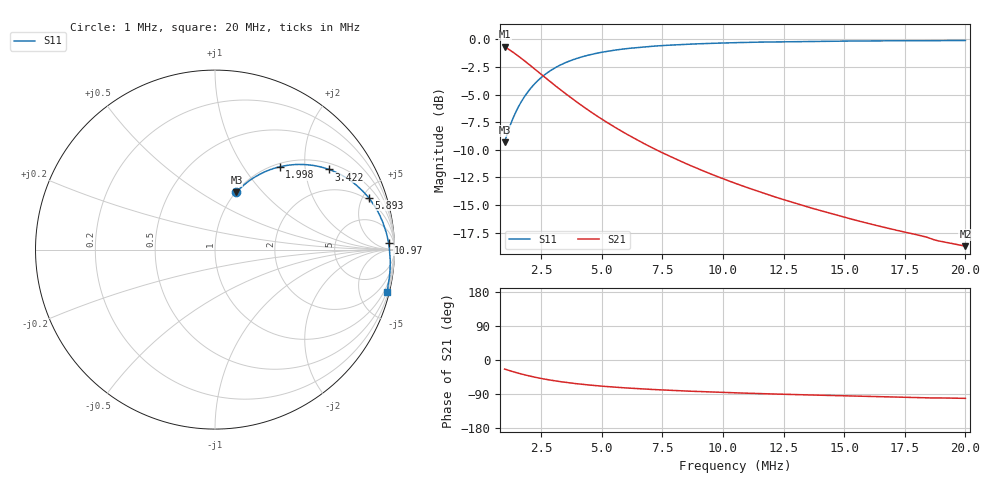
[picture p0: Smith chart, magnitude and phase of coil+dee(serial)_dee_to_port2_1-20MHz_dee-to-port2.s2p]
# HZ S RI R 50
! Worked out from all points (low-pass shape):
!   401 points, 1 MHz to 20 MHz, reference 50 ohm
!   highest |S21| = -0.68 dB at 1 MHz (marker M1); lowest = -18.7 dB at 20 MHz (marker M2)
!   |S21| within 3 dB of the highest: start of sweep to 2.794 MHz
!   lowest |S11| = -9.3 dB at 1 MHz (marker M3), VSWR 2.04, Z = 50.3 + j36.5 ohm
!   |S11| at or under -10 dB: nowhere
!   S12 and S22 are empty: the file has one direction only
!   S11 on the Smith chart (normalised r, x): 1 MHz: 1.01, +0.73; 1.998 MHz: 1.06, +1.48; 3.422 MHz: 1.19, +2.68; 5.893 MHz: 1.76, +5.53; 10.97 MHz: 24, +30; 20 MHz: 0.44, -8.28
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1000000  0.1197 0.3201  0.8454 -0.3739  0 0  0 0
1095000  0.1411 0.3419  0.8199 -0.3972  0 0  0 0
1285000  0.1858 0.3797  0.7676 -0.4367  0 0  0 0
1522500  0.2442 0.4169  0.7009 -0.4739  0 0  0 0
1760000  0.303 0.4437  0.6358 -0.499  0 0  0 0
1997500  0.3606 0.4614  0.5743 -0.514  0 0  0 0
2330000  0.4365 0.4732  0.4959 -0.5222  0 0  0 0
2710000  0.5146 0.4726  0.4178 -0.5185  0 0  0 0
3042500  0.5748 0.4637  0.3601 -0.5076  0 0  0 0
3422500  0.6345 0.4467  0.3043 -0.4906  0 0  0 0
4182500  0.7289 0.4015  0.2192 -0.4505  0 0  0 0
4990000  0.8 0.3483  0.1572 -0.4074  0 0  0 0
5892500  0.8554 0.2898  0.1097 -0.3639  0 0  0 0
6652500  0.8883 0.2436  0.0814 -0.332  0 0  0 0
7365000  0.9115 0.2036  0.0615 -0.3058  0 0  0 0
8837500  0.9432 0.1294  0.033 -0.2613  0 0  0 0
1.05e7  0.9633 0.0577  0.0132 -0.223  0 0  0 0
1.0975e7  0.967 0.0387  0.00906 -0.2138  0 0  0 0
1.36825e7  0.976 -0.0569  -0.00716 -0.1719  0 0  0 0
1.6865e7  0.972 -0.1527  -0.0174 -0.1383  0 0  0 0
1.886e7  0.9639 -0.2043  -0.0217 -0.1208  0 0  0 0
2e7  0.9592 -0.2344  -0.0225 -0.1137  0 0  0 0
